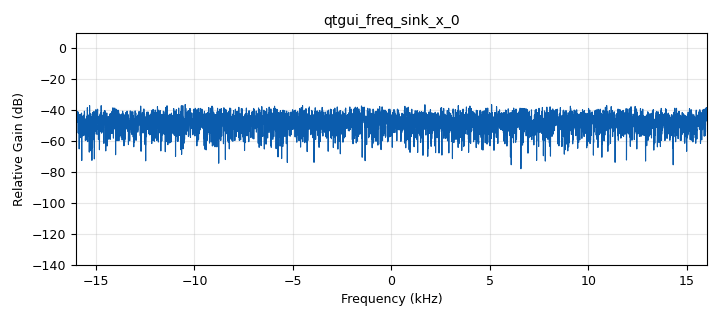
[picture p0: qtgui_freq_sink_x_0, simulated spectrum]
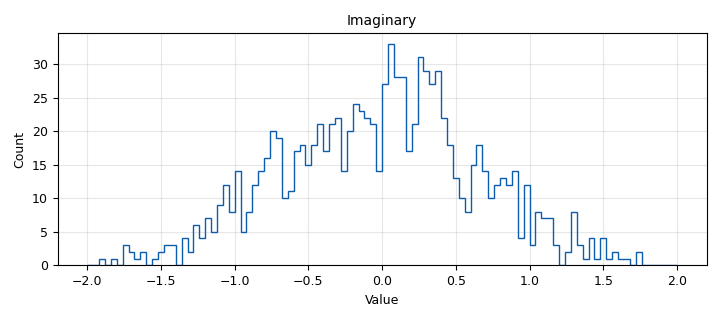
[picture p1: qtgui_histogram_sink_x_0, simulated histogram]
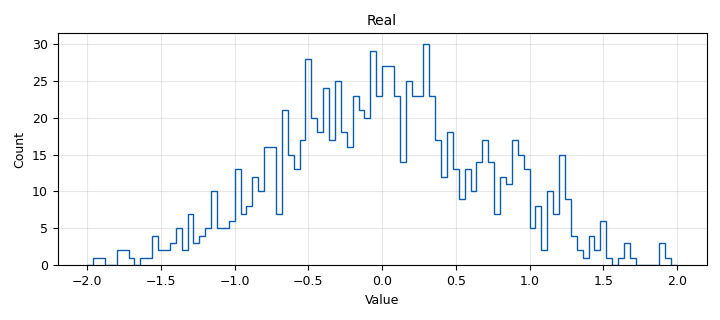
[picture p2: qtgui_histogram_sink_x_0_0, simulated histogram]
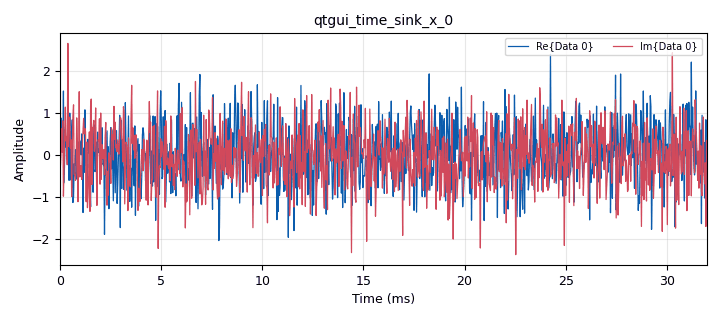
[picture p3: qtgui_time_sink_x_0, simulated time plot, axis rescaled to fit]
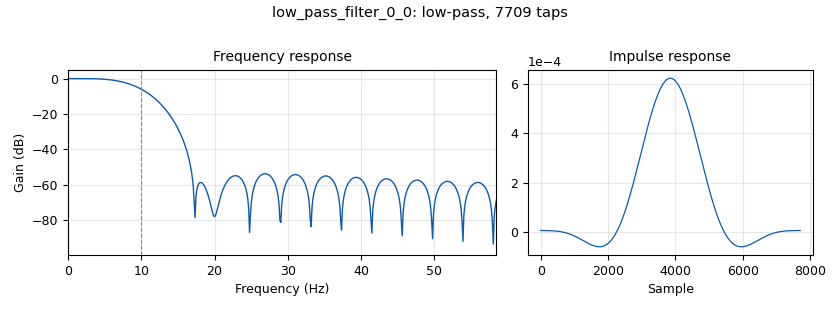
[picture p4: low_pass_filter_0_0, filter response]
<?xml version='1.0' encoding='utf-8'?>
<?grc format='1' created='3.7.11'?>
<flow_graph>
<block>
<key>options</key>
<param><key>id</key><value>top_block</value></param>
<param><key>generate_options</key><value>qt_gui</value></param>
</block>
<block>
<key>variable_qtgui_range</key>
<param><key>id</key><value>A</value></param>
<param><key>value</key><value>1</value></param>
<param><key>orient</key><value>Qt.Horizontal</value></param>
<param><key>start</key><value>0</value></param>
<param><key>step</key><value>0.1</value></param>
<param><key>stop</key><value>2</value></param>
</block>
<block>
<key>variable_qtgui_range</key>
<param><key>id</key><value>f0</value></param>
<param><key>value</key><value>200</value></param>
<param><key>orient</key><value>Qt.Horizontal</value></param>
<param><key>start</key><value>0</value></param>
<param><key>step</key><value>1</value></param>
<param><key>stop</key><value>1000</value></param>
</block>
<block>
<key>variable_qtgui_range</key>
<param><key>id</key><value>fL</value></param>
<param><key>value</key><value>16000</value></param>
<param><key>orient</key><value>Qt.Horizontal</value></param>
<param><key>start</key><value>10</value></param>
<param><key>step</key><value>1</value></param>
<param><key>stop</key><value>samp_rate/2</value></param>
</block>
<block>
<key>variable_qtgui_chooser</key>
<param><key>id</key><value>noise_type</value></param>
<param><key>value</key><value>'Gaussian'</value></param>
<param><key>label0</key><value>Gaussian</value></param>
<param><key>label1</key><value>Uniform</value></param>
<param><key>num_opts</key><value>2</value></param>
<param><key>option0</key><value>Gaussian</value></param>
<param><key>option1</key><value>'Uniform'</value></param>
<param><key>type</key><value>string</value></param>
</block>
<block>
<key>variable_qtgui_range</key>
<param><key>id</key><value>offs</value></param>
<param><key>value</key><value>0</value></param>
<param><key>orient</key><value>Qt.Horizontal</value></param>
<param><key>start</key><value>-1</value></param>
<param><key>step</key><value>.1</value></param>
<param><key>stop</key><value>1</value></param>
</block>
<block>
<key>variable</key>
<param><key>id</key><value>samp_rate</value></param>
<param><key>value</key><value>32000</value></param>
</block>
<block>
<key>variable_qtgui_chooser</key>
<param><key>id</key><value>waveform</value></param>
<param><key>value</key><value>102</value></param>
<param><key>label0</key><value>Cos</value></param>
<param><key>label1</key><value>square</value></param>
<param><key>label2</key><value>tri</value></param>
<param><key>num_opts</key><value>3</value></param>
<param><key>option0</key><value>102</value></param>
<param><key>option1</key><value>103</value></param>
<param><key>option2</key><value>104</value></param>
<param><key>type</key><value>int</value></param>
<param><key>widget</key><value>radio_buttons</value></param>
</block>
<block>
<key>analog_noise_source_x</key>
<param><key>id</key><value>analog_noise_source_x_0</value></param>
<param><key>amp</key><value>A</value></param>
<param><key>noise_type</key><value>analog.GR_GAUSSIAN</value></param>
<param><key>type</key><value>complex</value></param>
<param><key>seed</key><value>0</value></param>
</block>
<block>
<key>analog_sig_source_x</key>
<param><key>id</key><value>analog_sig_source_x_1</value></param>
<param><key>amp</key><value>1</value></param>
<param><key>_enabled</key><value>0</value></param>
<param><key>freq</key><value>200</value></param>
<param><key>offset</key><value>0</value></param>
<param><key>type</key><value>complex</value></param>
<param><key>samp_rate</key><value>samp_rate</value></param>
<param><key>waveform</key><value>waveform</value></param>
</block>
<block>
<key>blocks_complex_to_float</key>
<param><key>id</key><value>blocks_complex_to_float_0</value></param>
</block>
<block>
<key>blocks_complex_to_imag</key>
<param><key>id</key><value>blocks_complex_to_imag_0</value></param>
</block>
<block>
<key>blocks_complex_to_mag_squared</key>
<param><key>id</key><value>blocks_complex_to_mag_squared_0</value></param>
</block>
<block>
<key>blocks_complex_to_real</key>
<param><key>id</key><value>blocks_complex_to_real_0</value></param>
</block>
<block>
<key>blocks_multiply_xx</key>
<param><key>id</key><value>blocks_multiply_xx_0</value></param>
<param><key>type</key><value>float</value></param>
</block>
<block>
<key>blocks_multiply_xx</key>
<param><key>id</key><value>blocks_multiply_xx_0_0</value></param>
<param><key>type</key><value>float</value></param>
</block>
<block>
<key>blocks_throttle</key>
<param><key>id</key><value>blocks_throttle_0</value></param>
<param><key>samples_per_second</key><value>samp_rate</value></param>
<param><key>type</key><value>complex</value></param>
</block>
<block>
<key>low_pass_filter</key>
<param><key>id</key><value>low_pass_filter_0</value></param>
<param><key>cutoff_freq</key><value>fL</value></param>
<param><key>decim</key><value>1</value></param>
<param><key>type</key><value>fir_filter_ccf</value></param>
<param><key>gain</key><value>1</value></param>
<param><key>samp_rate</key><value>samp_rate</value></param>
<param><key>width</key><value>100</value></param>
<param><key>win</key><value>firdes.WIN_HAMMING</value></param>
</block>
<block>
<key>low_pass_filter</key>
<param><key>id</key><value>low_pass_filter_0_0</value></param>
<param><key>cutoff_freq</key><value>10</value></param>
<param><key>decim</key><value>1</value></param>
<param><key>type</key><value>fir_filter_fff</value></param>
<param><key>gain</key><value>1</value></param>
<param><key>samp_rate</key><value>samp_rate</value></param>
<param><key>width</key><value>10</value></param>
<param><key>win</key><value>firdes.WIN_HAMMING</value></param>
</block>
<block>
<key>low_pass_filter</key>
<param><key>id</key><value>low_pass_filter_0_0_0</value></param>
<param><key>cutoff_freq</key><value>10</value></param>
<param><key>decim</key><value>1</value></param>
<param><key>type</key><value>fir_filter_fff</value></param>
<param><key>gain</key><value>1</value></param>
<param><key>samp_rate</key><value>samp_rate</value></param>
<param><key>width</key><value>10</value></param>
<param><key>win</key><value>firdes.WIN_HAMMING</value></param>
</block>
<block>
<key>low_pass_filter</key>
<param><key>id</key><value>low_pass_filter_0_0_0_0</value></param>
<param><key>cutoff_freq</key><value>10</value></param>
<param><key>decim</key><value>1</value></param>
<param><key>type</key><value>fir_filter_fff</value></param>
<param><key>gain</key><value>1</value></param>
<param><key>samp_rate</key><value>samp_rate</value></param>
<param><key>width</key><value>10</value></param>
<param><key>win</key><value>firdes.WIN_HAMMING</value></param>
</block>
<block>
<key>qtgui_freq_sink_x</key>
<param><key>id</key><value>qtgui_freq_sink_x_0</value></param>
<param><key>bw</key><value>samp_rate</value></param>
<param><key>fc</key><value>0</value></param>
<param><key>fftsize</key><value>8192</value></param>
<param><key>showports</key><value>True</value></param>
<param><key>type</key><value>complex</value></param>
<param><key>wintype</key><value>firdes.WIN_BLACKMAN_hARRIS</value></param>
</block>
<block>
<key>qtgui_histogram_sink_x</key>
<param><key>id</key><value>qtgui_histogram_sink_x_0</value></param>
<param><key>xmax</key><value>2</value></param>
<param><key>xmin</key><value>-2</value></param>
<param><key>name</key><value>"Imaginary"</value></param>
<param><key>bins</key><value>100</value></param>
<param><key>size</key><value>1024</value></param>
<param><key>type</key><value>float</value></param>
</block>
<block>
<key>qtgui_histogram_sink_x</key>
<param><key>id</key><value>qtgui_histogram_sink_x_0_0</value></param>
<param><key>xmax</key><value>2</value></param>
<param><key>xmin</key><value>-2</value></param>
<param><key>name</key><value>"Real"</value></param>
<param><key>bins</key><value>100</value></param>
<param><key>size</key><value>1024</value></param>
<param><key>type</key><value>float</value></param>
</block>
<block>
<key>qtgui_number_sink</key>
<param><key>id</key><value>qtgui_number_sink_0</value></param>
<param><key>graph_type</key><value>qtgui.NUM_GRAPH_VERT</value></param>
<param><key>type</key><value>float</value></param>
<param><key>name</key><value>"Complex part of the waveform"</value></param>
</block>
<block>
<key>qtgui_number_sink</key>
<param><key>id</key><value>qtgui_number_sink_0_0</value></param>
<param><key>graph_type</key><value>qtgui.NUM_GRAPH_VERT</value></param>
<param><key>type</key><value>float</value></param>
<param><key>name</key><value>"real part of the waveform"</value></param>
</block>
<block>
<key>qtgui_number_sink</key>
<param><key>id</key><value>qtgui_number_sink_0_0_0</value></param>
<param><key>graph_type</key><value>qtgui.NUM_GRAPH_VERT</value></param>
<param><key>type</key><value>float</value></param>
<param><key>name</key><value>"Total avg power"</value></param>
</block>
<block>
<key>qtgui_time_sink_x</key>
<param><key>id</key><value>qtgui_time_sink_x_0</value></param>
<param><key>color1</key><value>"blue"</value></param>
<param><key>label1</key><value></value></param>
<param><key>color2</key><value>"red"</value></param>
<param><key>label2</key><value></value></param>
<param><key>size</key><value>1024</value></param>
<param><key>srate</key><value>samp_rate</value></param>
<param><key>type</key><value>complex</value></param>
</block>
<connection><source_block_id>analog_noise_source_x_0</source_block_id><sink_block_id>blocks_throttle_0</sink_block_id><source_key>0</source_key><sink_key>0</sink_key></connection>
<connection><source_block_id>analog_sig_source_x_1</source_block_id><sink_block_id>blocks_throttle_0</sink_block_id><source_key>0</source_key><sink_key>0</sink_key></connection>
<connection><source_block_id>blocks_complex_to_float_0</source_block_id><sink_block_id>qtgui_histogram_sink_x_0</sink_block_id><source_key>1</source_key><sink_key>0</sink_key></connection>
<connection><source_block_id>blocks_complex_to_float_0</source_block_id><sink_block_id>qtgui_histogram_sink_x_0_0</sink_block_id><source_key>0</source_key><sink_key>0</sink_key></connection>
<connection><source_block_id>blocks_complex_to_imag_0</source_block_id><sink_block_id>blocks_multiply_xx_0</sink_block_id><source_key>0</source_key><sink_key>0</sink_key></connection>
<connection><source_block_id>blocks_complex_to_imag_0</source_block_id><sink_block_id>blocks_multiply_xx_0</sink_block_id><source_key>0</source_key><sink_key>1</sink_key></connection>
<connection><source_block_id>blocks_complex_to_mag_squared_0</source_block_id><sink_block_id>low_pass_filter_0_0_0_0</sink_block_id><source_key>0</source_key><sink_key>0</sink_key></connection>
<connection><source_block_id>blocks_complex_to_real_0</source_block_id><sink_block_id>blocks_multiply_xx_0_0</sink_block_id><source_key>0</source_key><sink_key>0</sink_key></connection>
<connection><source_block_id>blocks_complex_to_real_0</source_block_id><sink_block_id>blocks_multiply_xx_0_0</sink_block_id><source_key>0</source_key><sink_key>1</sink_key></connection>
<connection><source_block_id>blocks_multiply_xx_0</source_block_id><sink_block_id>low_pass_filter_0_0</sink_block_id><source_key>0</source_key><sink_key>0</sink_key></connection>
<connection><source_block_id>blocks_multiply_xx_0_0</source_block_id><sink_block_id>low_pass_filter_0_0_0</sink_block_id><source_key>0</source_key><sink_key>0</sink_key></connection>
<connection><source_block_id>blocks_throttle_0</source_block_id><sink_block_id>low_pass_filter_0</sink_block_id><source_key>0</source_key><sink_key>0</sink_key></connection>
<connection><source_block_id>low_pass_filter_0</source_block_id><sink_block_id>blocks_complex_to_float_0</sink_block_id><source_key>0</source_key><sink_key>0</sink_key></connection>
<connection><source_block_id>low_pass_filter_0</source_block_id><sink_block_id>blocks_complex_to_imag_0</sink_block_id><source_key>0</source_key><sink_key>0</sink_key></connection>
<connection><source_block_id>low_pass_filter_0</source_block_id><sink_block_id>blocks_complex_to_mag_squared_0</sink_block_id><source_key>0</source_key><sink_key>0</sink_key></connection>
<connection><source_block_id>low_pass_filter_0</source_block_id><sink_block_id>blocks_complex_to_real_0</sink_block_id><source_key>0</source_key><sink_key>0</sink_key></connection>
<connection><source_block_id>low_pass_filter_0</source_block_id><sink_block_id>qtgui_freq_sink_x_0</sink_block_id><source_key>0</source_key><sink_key>0</sink_key></connection>
<connection><source_block_id>low_pass_filter_0</source_block_id><sink_block_id>qtgui_time_sink_x_0</sink_block_id><source_key>0</source_key><sink_key>0</sink_key></connection>
<connection><source_block_id>low_pass_filter_0_0</source_block_id><sink_block_id>qtgui_number_sink_0</sink_block_id><source_key>0</source_key><sink_key>0</sink_key></connection>
<connection><source_block_id>low_pass_filter_0_0_0</source_block_id><sink_block_id>qtgui_number_sink_0_0</sink_block_id><source_key>0</source_key><sink_key>0</sink_key></connection>
<connection><source_block_id>low_pass_filter_0_0_0_0</source_block_id><sink_block_id>qtgui_number_sink_0_0_0</sink_block_id><source_key>0</source_key><sink_key>0</sink_key></connection>
</flow_graph>
